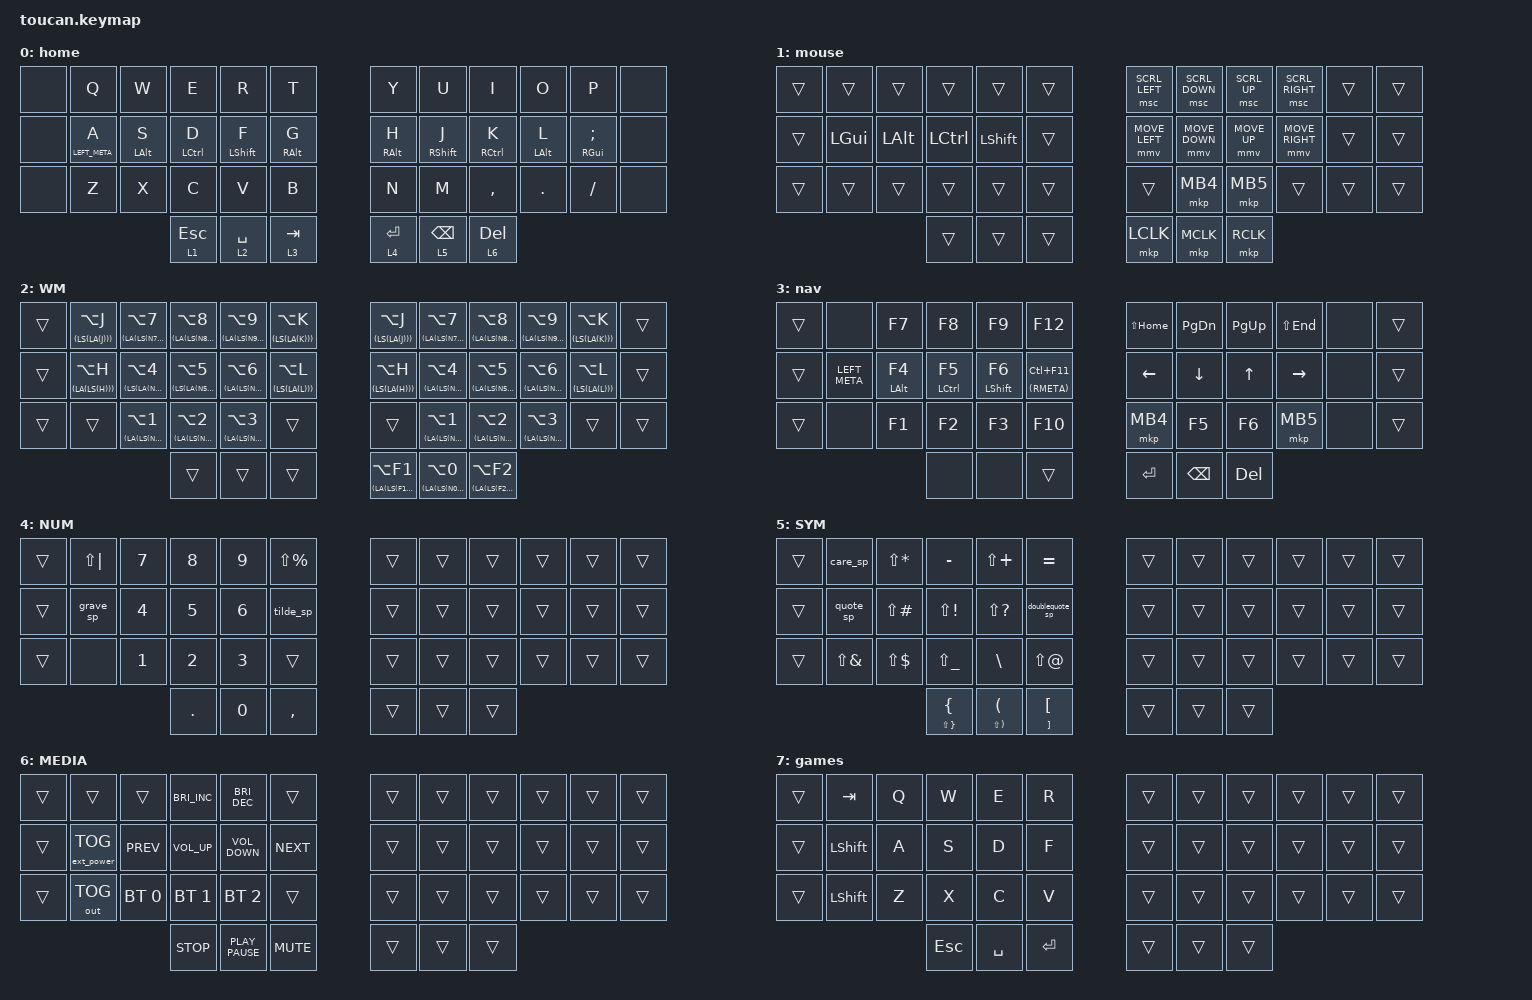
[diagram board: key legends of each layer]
/*
 * Copyright (c) 2020 The ZMK Contributors
 *
 * SPDX-License-Identifier: MIT
 */

#include <behaviors.dtsi>
#include <dt-bindings/zmk/bt.h>
#include <dt-bindings/zmk/ext_power.h>
#include <dt-bindings/zmk/keys.h>
#include <dt-bindings/zmk/outputs.h>
#include <dt-bindings/zmk/pointing.h>

&lt {
    quick-tap-ms = <185>;
    tapping-term-ms = <185>;
};

/ {
    behaviors {
        hm: homerow_mods {
            compatible = "zmk,behavior-hold-tap";
            label = "HOMEROW_MODS";
            bindings = <&kp>, <&kp>;

            #binding-cells = <2>;
            tapping-term-ms = <200>;
            flavor = "tap-preferred";
            require-prior-idle-ms = <125>;
            quick-tap-ms = <200>;
        };

        holdtap: holdtap {
            compatible = "zmk,behavior-hold-tap";
            label = "HOLDTAP";
            bindings = <&kp>, <&kp>;

            #binding-cells = <2>;
            tapping-term-ms = <185>;
            flavor = "tap-preferred";
            quick-tap-ms = <185>;
        };

        weak: weak {
            compatible = "zmk,behavior-hold-tap";
            label = "WEAK";
            bindings = <&kp>, <&kp>;

            #binding-cells = <2>;
            tapping-term-ms = <230>;
            flavor = "tap-preferred";
            require-prior-idle-ms = <125>;
            quick-tap-ms = <230>;
        };

        backspace: backspace {
            compatible = "zmk,behavior-tap-dance";
            label = "BACKSPACE";
            #binding-cells = <0>;
            bindings = <&kp BACKSPACE>, <&kp LC(BACKSPACE)>;
        };
    };

    combos {
        compatible = "zmk,combos";

        terminal {
            bindings = <&kp LA(A)>;
            key-positions = <19 16>;
        };

        capsword {
            bindings = <&caps_word>;
            key-positions = <5 6>;
        };

        parent_right {
            bindings = <&kp RIGHT_PARENTHESIS>;
            key-positions = <20 21>;
            timeout-ms = <25>;
            require-prior-idle-ms = <25>;
        };

        parent_left {
            bindings = <&kp LEFT_PARENTHESIS>;
            key-positions = <14 15>;
            timeout-ms = <25>;
            require-prior-idle-ms = <25>;
        };

        bracket_left {
            bindings = <&kp LEFT_BRACKET>;
            key-positions = <27 26>;
            timeout-ms = <25>;
            require-prior-idle-ms = <25>;
        };

        bracket_right {
            bindings = <&kp RIGHT_BRACKET>;
            key-positions = <32 33>;
            timeout-ms = <25>;
            require-prior-idle-ms = <25>;
        };

        brace_left {
            bindings = <&kp LEFT_BRACE>;
            key-positions = <3 2>;
            timeout-ms = <25>;
            require-prior-idle-ms = <25>;
        };

        brace_right {
            bindings = <&kp RIGHT_BRACE>;
            key-positions = <8 9>;
            timeout-ms = <25>;
            require-prior-idle-ms = <25>;
        };

        browser {
            bindings = <&kp LA(Z)>;
            key-positions = <17 18>;
        };

        filebrowser {
            bindings = <&kp LA(D)>;
            key-positions = <15 20>;
        };

        vim {
            bindings = <&kp LA(V)>;
            key-positions = <14 21>;
        };

        kill {
            bindings = <&kp LA(LS(Q))>;
            key-positions = <1 10>;
        };

        lockscreen {
            bindings = <&kp LA(LS(T))>;
            key-positions = <2 9>;
        };

        toggle_games {
            bindings = <&tog 7>;
            key-positions = <6 7 8 9>;
            layers = <0 7>;
        };
    };

    macros {
        save: save {
            compatible = "zmk,behavior-macro";
            #binding-cells = <0>;
            bindings = <&macro_tap>, <&kp ESCAPE &kp COLON &kp W &kp ENTER>;

            label = "SAVE";
        };

        grave_sp: grave_sp {
            compatible = "zmk,behavior-macro";
            #binding-cells = <0>;
            bindings = <&kp GRAVE &kp SPACE>;
            label = "GRAVE_SP";
            wait-ms = <0>;
        };

        tilde_sp: tilde_sp {
            compatible = "zmk,behavior-macro";
            #binding-cells = <0>;
            bindings = <&kp TILDE &kp SPACE>;
            label = "TILDE_SP";
            wait-ms = <0>;
        };

        quote_sp: quote_sp {
            compatible = "zmk,behavior-macro";
            #binding-cells = <0>;
            bindings = <&kp SINGLE_QUOTE &kp SPACE>;
            label = "QUOTE_SP";
            wait-ms = <0>;
        };

        doublequote_sp: doublequote_sp {
            compatible = "zmk,behavior-macro";
            #binding-cells = <0>;
            bindings = <&kp DOUBLE_QUOTES &kp SPACE>;
            label = "DOUBLEQUOTE_SP";
            wait-ms = <0>;
        };

        care_sp: care_sp {
            compatible = "zmk,behavior-macro";
            #binding-cells = <0>;
            bindings = <&kp CARET &kp SPACE>;
            label = "CARE_SP";
            wait-ms = <0>;
        };
    };

    keymap {
        compatible = "zmk,keymap";

        home {
            // -----------------------------------------------------------------------------------------
            // |  TAB |  Q  |  W  |  E  |  R  |  T  |   |  Y  |  U   |  I  |  O  |  P  | BKSP |
            // | CTRL |  A  |  S  |  D  |  F  |  G  |   |  H  |  J   |  K  |  L  |  ;  |  '   |
            // | SHFT |  Z  |  X  |  C  |  V  |  B  |   |  N  |  M   |  ,  |  .  |  /  | ESC  |
            //                    | GUI | LWR | SPC |   | ENT | RSE  | ALT |

            bindings = <
&none  &kp Q                 &kp W                &kp E                    &kp R                  &kp T                   &kp Y                 &kp U              &kp I             &kp O                &kp P                    &none
&none  &holdtap LEFT_META A  &holdtap LEFT_ALT S  &holdtap LEFT_CONTROL D  &holdtap LEFT_SHIFT F  &holdtap RIGHT_ALT G    &holdtap RIGHT_ALT H  &holdtap RSHIFT J  &holdtap RCTRL K  &holdtap LEFT_ALT L  &holdtap RIGHT_GUI SEMI  &none
&none  &kp Z                 &kp X                &kp C                    &kp V                  &kp B                   &kp N                 &kp M              &kp COMMA         &kp DOT              &kp FSLH                 &none
                                                  &lt 1 ESCAPE             &lt 2 SPACE            &lt 3 TAB               &lt 4 RET             &lt 5 BACKSPACE    &lt 6 DELETE
            >;

            label = "home";
        };

        mouse {
            bindings = <
&trans  &trans    &trans    &trans     &trans          &trans    &msc SCRL_LEFT  &msc SCRL_DOWN  &msc SCRL_UP  &msc SCRL_RIGHT  &trans  &trans
&trans  &kp LGUI  &kp LALT  &kp LCTRL  &kp LEFT_SHIFT  &trans    &mmv MOVE_LEFT  &mmv MOVE_DOWN  &mmv MOVE_UP  &mmv MOVE_RIGHT  &trans  &trans
&trans  &trans    &trans    &trans     &trans          &trans    &trans          &mkp MB4        &mkp MB5      &trans           &trans  &trans
                            &trans     &trans          &trans    &mkp LCLK       &mkp MCLK       &mkp RCLK
            >;
        };

        WM {
            bindings = <
&trans  &holdtap (LS(LA(J))) LA(J)  &holdtap (LA(LS(N7))) LA(N7)              &holdtap (LA(LS(N8))) LA(N8)              &holdtap (LA(LS(N9))) LA(N9)              &holdtap (LS(LA(K))) LA(K)    &holdtap (LS(LA(J))) LA(J)    &holdtap (LA(LS(N7))) LA(N7)              &holdtap (LA(LS(N8))) LA(N8)              &holdtap (LA(LS(N9))) LA(N9)              &holdtap (LS(LA(K))) LA(K)  &trans
&trans  &holdtap (LA(LS(H))) LA(H)  &holdtap (LS(LA(NUMBER_4))) LA(NUMBER_4)  &holdtap (LS(LA(N5))) LA(N5)              &holdtap (LA(LS(NUMBER_6))) LA(NUMBER_6)  &holdtap (LS(LA(L))) LA(L)    &holdtap (LS(LA(H))) LA(H)    &holdtap (LA(LS(NUMBER_4))) LA(NUMBER_4)  &holdtap (LA(LS(N5))) LA(N5)              &holdtap (LA(LS(NUMBER_6))) LA(NUMBER_6)  &holdtap (LS(LA(L))) LA(L)  &trans
&trans  &trans                      &holdtap (LA(LS(NUMBER_1))) LA(NUMBER_1)  &holdtap (LA(LS(NUMBER_2))) LA(NUMBER_2)  &holdtap (LA(LS(NUMBER_3))) LA(NUMBER_3)  &trans                        &trans                        &holdtap (LA(LS(NUMBER_1))) LA(NUMBER_1)  &holdtap (LA(LS(NUMBER_2))) LA(NUMBER_2)  &holdtap (LA(LS(NUMBER_3))) LA(NUMBER_3)  &trans                      &trans
                                                                              &trans                                    &trans                                    &trans                        &holdtap (LA(LS(F1))) LA(F1)  &holdtap (LA(LS(N0))) LA(N0)              &holdtap (LA(LS(F2))) LA(F2)
            >;
        };

        nav {
            bindings = <
&trans  &none          &kp F7           &kp F8        &kp F9             &kp F12                     &kp LS(HOME)    &kp PAGE_DOWN  &kp PAGE_UP   &kp LS(END)  &none  &trans
&trans  &kp LEFT_META  &hm LEFT_ALT F4  &hm LCTRL F5  &hm LEFT_SHIFT F6  &holdtap (RMETA) LC(F11)    &kp LEFT_ARROW  &kp DOWN       &kp UP_ARROW  &kp RIGHT    &none  &trans
&trans  &none          &kp F1           &kp F2        &kp F3             &kp F10                     &mkp MB4        &kp F5         &kp F6        &mkp MB5     &none  &trans
                                        &none         &none              &trans                      &kp ENTER       &kp BACKSPACE  &kp DELETE
            >;

            label = "nav";
        };

        NUM {
            bindings = <
&trans  &kp LS(PIPE)  &kp N7  &kp N8   &kp N9  &kp LS(PRCNT)    &trans  &trans  &trans  &trans  &trans  &trans
&trans  &grave_sp     &kp N4  &kp N5   &kp N6  &tilde_sp        &trans  &trans  &trans  &trans  &trans  &trans
&trans  &none         &kp N1  &kp N2   &kp N3  &trans           &trans  &trans  &trans  &trans  &trans  &trans
                              &kp DOT  &kp N0  &kp COMMA        &trans  &trans  &trans
            >;
        };

        SYM {
            bindings = <
&trans  &care_sp      &kp LS(STAR)   &kp MINUS                            &kp LS(PLUS)                                     &kp EQUAL                              &trans  &trans  &trans  &trans  &trans  &trans
&trans  &quote_sp     &kp LS(POUND)  &kp LS(EXCL)                         &kp LS(QMARK)                                    &doublequote_sp                        &trans  &trans  &trans  &trans  &trans  &trans
&trans  &kp LS(AMPS)  &kp LS(DLLR)   &kp LS(UNDER)                        &kp BSLH                                         &kp LS(AT)                             &trans  &trans  &trans  &trans  &trans  &trans
                                     &holdtap LS(RIGHT_BRACE) LEFT_BRACE  &holdtap LS(RIGHT_PARENTHESIS) LEFT_PARENTHESIS  &holdtap RIGHT_BRACKET LEFT_BRACKET    &trans  &trans  &trans
            >;
        };

        MEDIA {
            bindings = <
&trans  &trans             &trans        &kp C_BRIGHTNESS_INC  &kp C_BRIGHTNESS_DEC  &trans        &trans  &trans  &trans  &trans  &trans  &trans
&trans  &ext_power EP_TOG  &kp K_PREV    &kp C_VOLUME_UP       &kp C_VOLUME_DOWN     &kp K_NEXT    &trans  &trans  &trans  &trans  &trans  &trans
&trans  &out OUT_TOG       &bt BT_SEL 0  &bt BT_SEL 1          &bt BT_SEL 2          &trans        &trans  &trans  &trans  &trans  &trans  &trans
                                         &kp K_STOP            &kp K_PLAY_PAUSE      &kp K_MUTE    &trans  &trans  &trans
            >;
        };

        games {
            bindings = <
&trans  &kp TAB    &kp Q  &kp W    &kp E      &kp R      &trans  &trans  &trans  &trans  &trans  &trans
&trans  &kp LSHFT  &kp A  &kp S    &kp D      &kp F      &trans  &trans  &trans  &trans  &trans  &trans
&trans  &kp LSHFT  &kp Z  &kp X    &kp C      &kp V      &trans  &trans  &trans  &trans  &trans  &trans
                          &kp ESC  &kp SPACE  &kp RET    &trans  &trans  &trans
            >;
        };
    };
};
